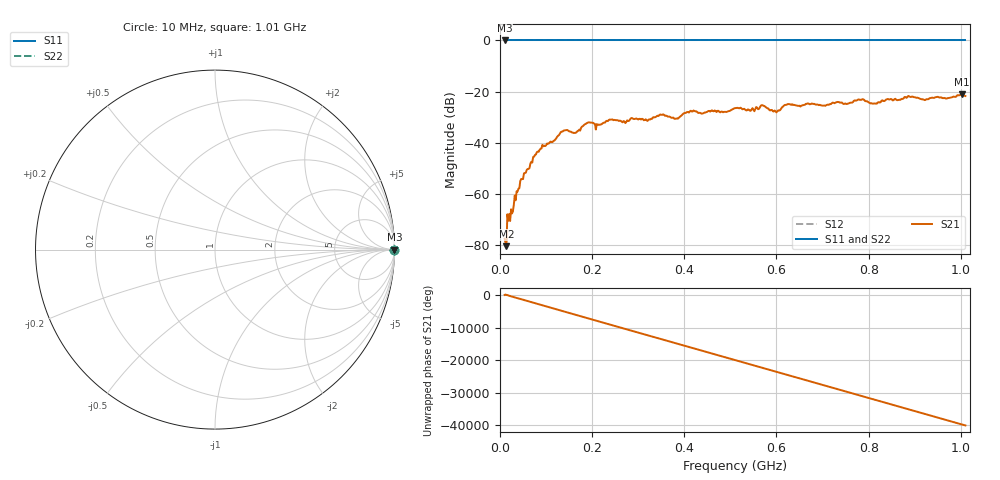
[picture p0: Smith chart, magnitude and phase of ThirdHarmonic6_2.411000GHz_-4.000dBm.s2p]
! 8/17/2025 4:02:35 AM
! C:\ANRITSUVNA\TEMP\TEMP.S2P
! CHANNEL.1
! TR.MEASUREMENT
! RAW.DATA
! RF.CORRECTION.OFF
! AVERAGING.OFF
! IF.BANDWIDTH: 5KHZ
! SWEEPTYPE:  FREQ.SWEEP(Linear)
! Reference Plane Port Info
! PORT:  PORT1  PORT2
! DISTANCE:  0  m  0  m
! TIME:  0  s  0  s
! PHASE.OFFSET:  0  deg.  0  deg.
! LOSS:  0  dB  0  dB
! REF.LOSS:  0  dB  0  dB
! REF.FREQ:  0  Hz  0  Hz
! Power Info
! POWER:  -20  dBm  -20  dBm
! EFF.POWER:  -20  dBm  -20  dBm
! SOURCE.ATTEN:  0  dB  0  dB
! TEST.ATTEN:  0  dB  0  dB
# GHZ S RI R 50.0
! FREQ.GHZ  S11RE  S11IM  S21RE  S21IM  S12RE  S12IM  S22RE  S22IM
!; PortSelection: Port_12
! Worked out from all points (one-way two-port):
!   501 points, 10 MHz to 1.01 GHz, reference 50 ohm
!   highest |S21| = -21.11 dB at 1.002 GHz (marker M1); lowest = -80.5 dB at 14 MHz (marker M2)
!   lowest |S11| = 0.0 dB at 10 MHz (marker M3)
!   |S11| at or under -10 dB: nowhere
!   |S22| runs from 0.0 to 0.0 dB; largest |S21 - S12| = 1.1
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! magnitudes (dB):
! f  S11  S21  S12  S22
! 10 MHz  0.0  -77.5  0.0  0.0
! 14 MHz  0.0  -80.5  0.0  0.0
! 20 MHz  0.0  -67.9  0.0  0.0
! 26 MHz  0.0  -67.7  0.0  0.0
! 44 MHz  0.0  -55.0  0.0  0.0
! 76 MHz  0.0  -44.8  0.0  0.0
! 136 MHz  0.0  -35.6  0.0  0.0
! 162 MHz  0.0  -36.2  0.0  0.0
! 178 MHz  0.0  -33.7  0.0  0.0
! 192 MHz  0.0  -32.0  0.0  0.0
! 212 MHz  0.0  -32.9  0.0  0.0
! 344 MHz  0.0  -29.5  0.0  0.0
! 382 MHz  0.0  -30.6  0.0  0.0
! 416 MHz  0.0  -27.8  0.0  0.0
! 510 MHz  0.0  -26.5  0.0  0.0
! 570 MHz  0.0  -25.4  0.0  0.0
! 598 MHz  0.0  -27.8  0.0  0.0
! 622 MHz  0.0  -25.2  0.0  0.0
! 678 MHz  0.0  -24.7  0.0  0.0
! 844 MHz  0.0  -23.0  0.0  0.0
! 1.002 GHz  0.0  -21.1  0.0  0.0
! 1.01 GHz  0.0  -21.7  0.0  0.0
